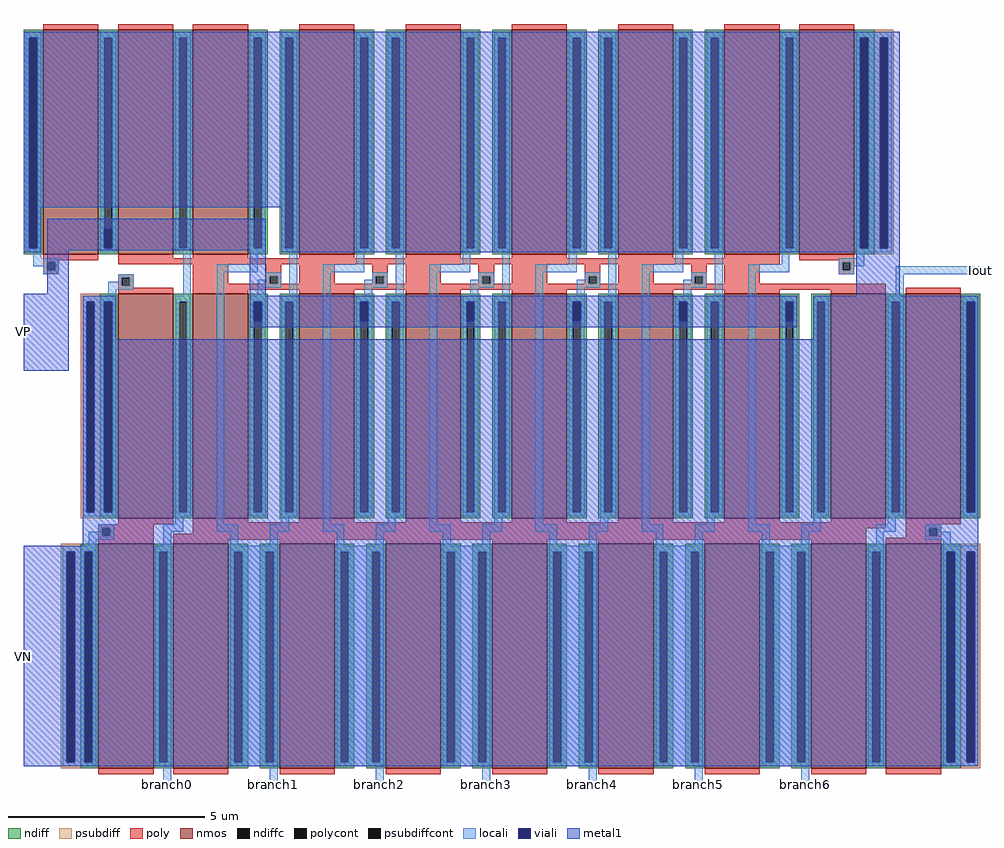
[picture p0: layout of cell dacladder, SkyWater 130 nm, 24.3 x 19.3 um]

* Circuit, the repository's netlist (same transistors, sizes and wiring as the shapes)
* SPICE3 file created from /home/jonah/VLSI/VLSI-MP4/design-files/layout/dacladder.ext - technology: sky130A


* Top level circuit /home/jonah/VLSI/VLSI-MP4/design-files/layout/dacladder

X0 branch2 VP branch1 VN sky130_fd_pr__nfet_01v8 ad=1.425e+13p pd=6.2e+07u as=1.425e+13p ps=6.2e+07u w=5.7e+06u l=1.4e+06u
X1 VP VN VN VN sky130_fd_pr__nfet_01v8 ad=1.995e+13p pd=8.68e+07u as=1.653e+13p ps=7.42e+07u w=5.7e+06u l=1.4e+06u
X2 branch1 VP branch0 VN sky130_fd_pr__nfet_01v8 ad=0p pd=0u as=8.55e+12p ps=3.72e+07u w=5.7e+06u l=1.4e+06u
X3 branch3 VP branch2 VN sky130_fd_pr__nfet_01v8 ad=1.425e+13p pd=6.2e+07u as=0p ps=0u w=5.7e+06u l=1.4e+06u
X4 branch4 VP branch3 VN sky130_fd_pr__nfet_01v8 ad=1.425e+13p pd=6.2e+07u as=0p ps=0u w=5.7e+06u l=1.4e+06u
X5 branch6 VP branch5 VN sky130_fd_pr__nfet_01v8 ad=1.14e+13p pd=4.96e+07u as=1.425e+13p ps=6.2e+07u w=5.7e+06u l=1.4e+06u
X6 VN VN branch6 VN sky130_fd_pr__nfet_01v8 ad=0p pd=0u as=0p ps=0u w=5.7e+06u l=1.4e+06u
X7 branch0 VN VN VN sky130_fd_pr__nfet_01v8 ad=0p pd=0u as=0p ps=0u w=5.7e+06u l=1.4e+06u
X8 VN VN Iout VN sky130_fd_pr__nfet_01v8 ad=0p pd=0u as=5.7e+12p ps=2.48e+07u w=5.7e+06u l=1.4e+06u
X9 branch4 VP branch3 VN sky130_fd_pr__nfet_01v8 ad=0p pd=0u as=0p ps=0u w=5.7e+06u l=1.4e+06u
X10 VP VP branch2 VN sky130_fd_pr__nfet_01v8 ad=0p pd=0u as=0p ps=0u w=5.7e+06u l=1.4e+06u
X11 branch0 VN VN VN sky130_fd_pr__nfet_01v8 ad=0p pd=0u as=0p ps=0u w=5.7e+06u l=1.4e+06u
X12 VP VP branch4 VN sky130_fd_pr__nfet_01v8 ad=0p pd=0u as=0p ps=0u w=5.7e+06u l=1.4e+06u
X13 branch5 VP branch4 VN sky130_fd_pr__nfet_01v8 ad=0p pd=0u as=0p ps=0u w=5.7e+06u l=1.4e+06u
X14 Iout VP branch6 VN sky130_fd_pr__nfet_01v8 ad=0p pd=0u as=0p ps=0u w=5.7e+06u l=1.4e+06u
X15 VN VN Iout VN sky130_fd_pr__nfet_01v8 ad=0p pd=0u as=0p ps=0u w=5.7e+06u l=1.4e+06u
X16 VP VP branch0 VN sky130_fd_pr__nfet_01v8 ad=0p pd=0u as=0p ps=0u w=5.7e+06u l=1.4e+06u
X17 branch3 VP branch2 VN sky130_fd_pr__nfet_01v8 ad=0p pd=0u as=0p ps=0u w=5.7e+06u l=1.4e+06u
X18 VP VP branch1 VN sky130_fd_pr__nfet_01v8 ad=0p pd=0u as=0p ps=0u w=5.7e+06u l=1.4e+06u
X19 branch5 VP branch4 VN sky130_fd_pr__nfet_01v8 ad=0p pd=0u as=0p ps=0u w=5.7e+06u l=1.4e+06u
X20 VP VP branch3 VN sky130_fd_pr__nfet_01v8 ad=0p pd=0u as=0p ps=0u w=5.7e+06u l=1.4e+06u
X21 Iout VP branch6 VN sky130_fd_pr__nfet_01v8 ad=0p pd=0u as=0p ps=0u w=5.7e+06u l=1.4e+06u
X22 branch2 VP branch1 VN sky130_fd_pr__nfet_01v8 ad=0p pd=0u as=0p ps=0u w=5.7e+06u l=1.4e+06u
X23 branch6 VP branch5 VN sky130_fd_pr__nfet_01v8 ad=0p pd=0u as=0p ps=0u w=5.7e+06u l=1.4e+06u
X24 VP VP branch5 VN sky130_fd_pr__nfet_01v8 ad=0p pd=0u as=0p ps=0u w=5.7e+06u l=1.4e+06u
X25 branch1 VP branch0 VN sky130_fd_pr__nfet_01v8 ad=0p pd=0u as=0p ps=0u w=5.7e+06u l=1.4e+06u
X26 branch0 VP VP VN sky130_fd_pr__nfet_01v8 ad=0p pd=0u as=0p ps=0u w=5.7e+06u l=1.4e+06u
.end

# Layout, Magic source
magic
tech sky130A
<< nmos >>
rect -25 -435 115 135
rect 165 -435 305 135
rect 355 -435 495 135
rect 625 -435 765 135
rect 895 -435 1035 135
rect 1165 -435 1305 135
rect 1435 -435 1575 135
rect 1705 -435 1845 135
rect 1895 -435 2035 135
rect 165 -1105 305 -535
rect 355 -1105 495 -535
rect 625 -1105 765 -535
rect 895 -1105 1035 -535
rect 1165 -1105 1305 -535
rect 1435 -1105 1575 -535
rect 1705 -1105 1845 -535
rect 1975 -1105 2115 -535
rect 2165 -1105 2305 -535
rect 115 -1740 255 -1170
rect 305 -1740 445 -1170
rect 575 -1740 715 -1170
rect 845 -1740 985 -1170
rect 1115 -1740 1255 -1170
rect 1385 -1740 1525 -1170
rect 1655 -1740 1795 -1170
rect 1925 -1740 2065 -1170
rect 2115 -1740 2255 -1170
<< ndiff >>
rect -75 115 -25 135
rect -75 -420 -60 115
rect -40 -420 -25 115
rect -75 -435 -25 -420
rect 115 115 165 135
rect 115 -420 130 115
rect 150 -420 165 115
rect 115 -435 165 -420
rect 305 115 355 135
rect 305 -420 320 115
rect 340 -420 355 115
rect 305 -435 355 -420
rect 495 115 545 135
rect 495 -420 510 115
rect 530 -420 545 115
rect 495 -435 545 -420
rect 575 115 625 135
rect 575 -420 590 115
rect 610 -420 625 115
rect 575 -435 625 -420
rect 765 115 815 135
rect 765 -420 780 115
rect 800 -420 815 115
rect 765 -435 815 -420
rect 845 115 895 135
rect 845 -420 860 115
rect 880 -420 895 115
rect 845 -435 895 -420
rect 1035 115 1085 135
rect 1035 -420 1050 115
rect 1070 -420 1085 115
rect 1035 -435 1085 -420
rect 1115 115 1165 135
rect 1115 -420 1130 115
rect 1150 -420 1165 115
rect 1115 -435 1165 -420
rect 1305 115 1355 135
rect 1305 -420 1320 115
rect 1340 -420 1355 115
rect 1305 -435 1355 -420
rect 1385 115 1435 135
rect 1385 -420 1400 115
rect 1420 -420 1435 115
rect 1385 -435 1435 -420
rect 1575 115 1625 135
rect 1575 -420 1590 115
rect 1610 -420 1625 115
rect 1575 -435 1625 -420
rect 1655 115 1705 135
rect 1655 -420 1670 115
rect 1690 -420 1705 115
rect 1655 -435 1705 -420
rect 1845 115 1895 135
rect 1845 -420 1860 115
rect 1880 -420 1895 115
rect 1845 -435 1895 -420
rect 2035 115 2085 135
rect 2035 -420 2050 115
rect 2070 -420 2085 115
rect 2035 -435 2085 -420
rect 120 -555 165 -535
rect 120 -1090 130 -555
rect 150 -1090 165 -555
rect 120 -1105 165 -1090
rect 305 -555 355 -535
rect 305 -1090 320 -555
rect 340 -1090 355 -555
rect 305 -1105 355 -1090
rect 495 -555 545 -535
rect 495 -1090 510 -555
rect 530 -1090 545 -555
rect 495 -1105 545 -1090
rect 575 -555 625 -535
rect 575 -1090 590 -555
rect 610 -1090 625 -555
rect 575 -1105 625 -1090
rect 765 -555 815 -535
rect 765 -1090 780 -555
rect 800 -1090 815 -555
rect 765 -1105 815 -1090
rect 845 -555 895 -535
rect 845 -1090 860 -555
rect 880 -1090 895 -555
rect 845 -1105 895 -1090
rect 1035 -555 1085 -535
rect 1035 -1090 1050 -555
rect 1070 -1090 1085 -555
rect 1035 -1105 1085 -1090
rect 1115 -555 1165 -535
rect 1115 -1090 1130 -555
rect 1150 -1090 1165 -555
rect 1115 -1105 1165 -1090
rect 1305 -555 1355 -535
rect 1305 -1090 1320 -555
rect 1340 -1090 1355 -555
rect 1305 -1105 1355 -1090
rect 1385 -555 1435 -535
rect 1385 -1090 1400 -555
rect 1420 -1090 1435 -555
rect 1385 -1105 1435 -1090
rect 1575 -555 1625 -535
rect 1575 -1090 1590 -555
rect 1610 -1090 1625 -555
rect 1575 -1105 1625 -1090
rect 1655 -555 1705 -535
rect 1655 -1090 1670 -555
rect 1690 -1090 1705 -555
rect 1655 -1105 1705 -1090
rect 1845 -555 1895 -535
rect 1845 -1090 1860 -555
rect 1880 -1090 1895 -555
rect 1845 -1105 1895 -1090
rect 1925 -555 1975 -535
rect 1925 -1090 1940 -555
rect 1960 -1090 1975 -555
rect 1925 -1105 1975 -1090
rect 2115 -555 2165 -535
rect 2115 -1090 2130 -555
rect 2150 -1090 2165 -555
rect 2115 -1105 2165 -1090
rect 2305 -555 2355 -535
rect 2305 -1090 2320 -555
rect 2340 -1090 2355 -555
rect 2305 -1105 2355 -1090
rect 70 -1190 115 -1170
rect 70 -1725 80 -1190
rect 100 -1725 115 -1190
rect 70 -1740 115 -1725
rect 255 -1190 305 -1170
rect 255 -1725 270 -1190
rect 290 -1725 305 -1190
rect 255 -1740 305 -1725
rect 445 -1190 495 -1170
rect 445 -1725 460 -1190
rect 480 -1725 495 -1190
rect 445 -1740 495 -1725
rect 525 -1190 575 -1170
rect 525 -1725 540 -1190
rect 560 -1725 575 -1190
rect 525 -1740 575 -1725
rect 715 -1190 765 -1170
rect 715 -1725 730 -1190
rect 750 -1725 765 -1190
rect 715 -1740 765 -1725
rect 795 -1190 845 -1170
rect 795 -1725 810 -1190
rect 830 -1725 845 -1190
rect 795 -1740 845 -1725
rect 985 -1190 1035 -1170
rect 985 -1725 1000 -1190
rect 1020 -1725 1035 -1190
rect 985 -1740 1035 -1725
rect 1065 -1190 1115 -1170
rect 1065 -1725 1080 -1190
rect 1100 -1725 1115 -1190
rect 1065 -1740 1115 -1725
rect 1255 -1190 1305 -1170
rect 1255 -1725 1270 -1190
rect 1290 -1725 1305 -1190
rect 1255 -1740 1305 -1725
rect 1335 -1190 1385 -1170
rect 1335 -1725 1350 -1190
rect 1370 -1725 1385 -1190
rect 1335 -1740 1385 -1725
rect 1525 -1190 1575 -1170
rect 1525 -1725 1540 -1190
rect 1560 -1725 1575 -1190
rect 1525 -1740 1575 -1725
rect 1605 -1190 1655 -1170
rect 1605 -1725 1620 -1190
rect 1640 -1725 1655 -1190
rect 1605 -1740 1655 -1725
rect 1795 -1190 1845 -1170
rect 1795 -1725 1810 -1190
rect 1830 -1725 1845 -1190
rect 1795 -1740 1845 -1725
rect 1875 -1190 1925 -1170
rect 1875 -1725 1890 -1190
rect 1910 -1725 1925 -1190
rect 1875 -1740 1925 -1725
rect 2065 -1190 2115 -1170
rect 2065 -1725 2080 -1190
rect 2100 -1725 2115 -1190
rect 2065 -1740 2115 -1725
rect 2255 -1190 2305 -1170
rect 2255 -1725 2270 -1190
rect 2290 -1725 2305 -1190
rect 2255 -1740 2305 -1725
<< ndiffc >>
rect -60 -420 -40 115
rect 130 -420 150 115
rect 320 -420 340 115
rect 510 -420 530 115
rect 590 -420 610 115
rect 780 -420 800 115
rect 860 -420 880 115
rect 1050 -420 1070 115
rect 1130 -420 1150 115
rect 1320 -420 1340 115
rect 1400 -420 1420 115
rect 1590 -420 1610 115
rect 1670 -420 1690 115
rect 1860 -420 1880 115
rect 2050 -420 2070 115
rect 130 -1090 150 -555
rect 320 -1090 340 -555
rect 510 -1090 530 -555
rect 590 -1090 610 -555
rect 780 -1090 800 -555
rect 860 -1090 880 -555
rect 1050 -1090 1070 -555
rect 1130 -1090 1150 -555
rect 1320 -1090 1340 -555
rect 1400 -1090 1420 -555
rect 1590 -1090 1610 -555
rect 1670 -1090 1690 -555
rect 1860 -1090 1880 -555
rect 1940 -1090 1960 -555
rect 2130 -1090 2150 -555
rect 2320 -1090 2340 -555
rect 80 -1725 100 -1190
rect 270 -1725 290 -1190
rect 460 -1725 480 -1190
rect 540 -1725 560 -1190
rect 730 -1725 750 -1190
rect 810 -1725 830 -1190
rect 1000 -1725 1020 -1190
rect 1080 -1725 1100 -1190
rect 1270 -1725 1290 -1190
rect 1350 -1725 1370 -1190
rect 1540 -1725 1560 -1190
rect 1620 -1725 1640 -1190
rect 1810 -1725 1830 -1190
rect 1890 -1725 1910 -1190
rect 2080 -1725 2100 -1190
rect 2270 -1725 2290 -1190
<< psubdiff >>
rect 2085 115 2135 135
rect 2085 -420 2100 115
rect 2120 -420 2135 115
rect 2085 -435 2135 -420
rect 70 -555 120 -535
rect 70 -1090 85 -555
rect 105 -1090 120 -555
rect 70 -1105 120 -1090
rect 20 -1190 70 -1170
rect 20 -1725 35 -1190
rect 55 -1725 70 -1190
rect 20 -1740 70 -1725
rect 2305 -1190 2355 -1170
rect 2305 -1725 2320 -1190
rect 2340 -1725 2355 -1190
rect 2305 -1740 2355 -1725
<< psubdiffcont >>
rect 2100 -420 2120 115
rect 85 -1090 105 -555
rect 35 -1725 55 -1190
rect 2320 -1725 2340 -1190
<< poly >>
rect -25 135 115 150
rect 165 135 305 150
rect 355 135 495 150
rect 625 135 765 150
rect 895 135 1035 150
rect 1165 135 1305 150
rect 1435 135 1575 150
rect 1705 135 1845 150
rect 1895 135 2035 150
rect -25 -450 115 -435
rect 165 -445 305 -435
rect 355 -445 495 -435
rect 625 -445 765 -435
rect 895 -445 1035 -435
rect 1165 -445 1305 -435
rect 1435 -445 1575 -435
rect 1705 -445 1845 -435
rect -25 -455 15 -450
rect -25 -475 -15 -455
rect 5 -475 15 -455
rect 165 -460 1845 -445
rect 1895 -450 2035 -435
rect 1995 -455 2035 -450
rect -25 -485 15 -475
rect 165 -495 205 -485
rect 165 -515 175 -495
rect 195 -515 205 -495
rect 165 -520 205 -515
rect 355 -510 445 -460
rect 540 -490 580 -460
rect 540 -510 550 -490
rect 570 -510 580 -490
rect 625 -510 715 -460
rect 810 -490 850 -460
rect 810 -510 820 -490
rect 840 -510 850 -490
rect 895 -510 985 -460
rect 1080 -490 1120 -460
rect 1080 -510 1090 -490
rect 1110 -510 1120 -490
rect 1165 -510 1255 -460
rect 1350 -490 1390 -460
rect 1350 -510 1360 -490
rect 1380 -510 1390 -490
rect 1435 -510 1525 -460
rect 1620 -490 1660 -460
rect 1620 -510 1630 -490
rect 1650 -510 1660 -490
rect 1705 -510 1795 -460
rect 1995 -475 2005 -455
rect 2025 -475 2035 -455
rect 1995 -485 2035 -475
rect 165 -535 305 -520
rect 355 -525 2115 -510
rect 355 -535 495 -525
rect 625 -535 765 -525
rect 895 -535 1035 -525
rect 1165 -535 1305 -525
rect 1435 -535 1575 -525
rect 1705 -535 1845 -525
rect 1975 -535 2115 -525
rect 2165 -535 2305 -520
rect 165 -1120 305 -1105
rect 355 -1115 495 -1105
rect 625 -1115 765 -1105
rect 895 -1115 1035 -1105
rect 1165 -1115 1305 -1105
rect 1435 -1115 1575 -1105
rect 1705 -1115 1845 -1105
rect 1975 -1115 2115 -1105
rect 115 -1130 255 -1120
rect 115 -1150 125 -1130
rect 145 -1150 255 -1130
rect 355 -1130 2115 -1115
rect 2165 -1120 2305 -1105
rect 2165 -1130 2255 -1120
rect 355 -1145 2065 -1130
rect 115 -1170 255 -1150
rect 305 -1160 2065 -1145
rect 2165 -1150 2225 -1130
rect 2245 -1150 2255 -1130
rect 2165 -1155 2255 -1150
rect 305 -1170 445 -1160
rect 575 -1170 715 -1160
rect 845 -1170 985 -1160
rect 1115 -1170 1255 -1160
rect 1385 -1170 1525 -1160
rect 1655 -1170 1795 -1160
rect 1925 -1170 2065 -1160
rect 2115 -1170 2255 -1155
rect 115 -1755 255 -1740
rect 305 -1755 445 -1740
rect 575 -1755 715 -1740
rect 845 -1755 985 -1740
rect 1115 -1755 1255 -1740
rect 1385 -1755 1525 -1740
rect 1655 -1755 1795 -1740
rect 1925 -1755 2065 -1740
rect 2115 -1755 2255 -1740
<< polycont >>
rect -15 -475 5 -455
rect 175 -515 195 -495
rect 550 -510 570 -490
rect 820 -510 840 -490
rect 1090 -510 1110 -490
rect 1360 -510 1380 -490
rect 1630 -510 1650 -490
rect 2005 -475 2025 -455
rect 125 -1150 145 -1130
rect 2225 -1150 2245 -1130
<< locali >>
rect -70 115 -30 130
rect -70 -420 -60 115
rect -40 -420 -30 115
rect -70 -430 -30 -420
rect 120 115 160 130
rect 120 -420 130 115
rect 150 -420 160 115
rect 120 -430 160 -420
rect 310 115 350 130
rect 310 -420 320 115
rect 340 -420 350 115
rect 310 -430 350 -420
rect -50 -445 -30 -430
rect -50 -455 15 -445
rect -50 -465 -15 -455
rect -25 -475 -15 -465
rect 5 -475 15 -455
rect -25 -485 15 -475
rect 165 -495 205 -485
rect 165 -505 175 -495
rect 140 -515 175 -505
rect 195 -515 205 -495
rect 140 -525 205 -515
rect 140 -540 160 -525
rect 330 -540 350 -430
rect 500 115 540 130
rect 500 -420 510 115
rect 530 -420 540 115
rect 500 -430 540 -420
rect 580 115 620 130
rect 580 -420 590 115
rect 610 -420 620 115
rect 580 -430 620 -420
rect 500 -460 520 -430
rect 75 -555 160 -540
rect 75 -1090 85 -555
rect 105 -1090 130 -555
rect 150 -1090 160 -555
rect 75 -1100 160 -1090
rect 310 -555 350 -540
rect 310 -1090 320 -555
rect 340 -1090 350 -555
rect 310 -1100 350 -1090
rect 415 -480 520 -460
rect 310 -1120 330 -1100
rect 115 -1130 155 -1120
rect 115 -1140 125 -1130
rect 90 -1150 125 -1140
rect 145 -1150 155 -1130
rect 90 -1160 155 -1150
rect 280 -1140 330 -1120
rect 415 -1120 435 -480
rect 540 -490 580 -480
rect 540 -500 550 -490
rect 520 -510 550 -500
rect 570 -510 580 -490
rect 520 -520 580 -510
rect 520 -540 540 -520
rect 600 -540 620 -430
rect 770 115 810 130
rect 770 -420 780 115
rect 800 -420 810 115
rect 770 -430 810 -420
rect 850 115 890 130
rect 850 -420 860 115
rect 880 -420 890 115
rect 850 -430 890 -420
rect 770 -460 790 -430
rect 500 -555 540 -540
rect 500 -1090 510 -555
rect 530 -1090 540 -555
rect 500 -1100 540 -1090
rect 580 -555 620 -540
rect 580 -1090 590 -555
rect 610 -1090 620 -555
rect 580 -1100 620 -1090
rect 685 -480 790 -460
rect 580 -1120 600 -1100
rect 415 -1140 470 -1120
rect 90 -1175 110 -1160
rect 280 -1175 300 -1140
rect 25 -1190 110 -1175
rect 25 -1725 35 -1190
rect 55 -1725 80 -1190
rect 100 -1725 110 -1190
rect 25 -1735 110 -1725
rect 260 -1190 300 -1175
rect 260 -1725 270 -1190
rect 290 -1725 300 -1190
rect 260 -1735 300 -1725
rect 450 -1175 470 -1140
rect 550 -1140 600 -1120
rect 685 -1120 705 -480
rect 810 -490 850 -480
rect 810 -500 820 -490
rect 790 -510 820 -500
rect 840 -510 850 -490
rect 790 -520 850 -510
rect 790 -540 810 -520
rect 870 -540 890 -430
rect 1040 115 1080 130
rect 1040 -420 1050 115
rect 1070 -420 1080 115
rect 1040 -430 1080 -420
rect 1120 115 1160 130
rect 1120 -420 1130 115
rect 1150 -420 1160 115
rect 1120 -430 1160 -420
rect 1040 -460 1060 -430
rect 770 -555 810 -540
rect 770 -1090 780 -555
rect 800 -1090 810 -555
rect 770 -1100 810 -1090
rect 850 -555 890 -540
rect 850 -1090 860 -555
rect 880 -1090 890 -555
rect 850 -1100 890 -1090
rect 955 -480 1060 -460
rect 850 -1120 870 -1100
rect 685 -1140 740 -1120
rect 550 -1175 570 -1140
rect 450 -1190 570 -1175
rect 450 -1725 460 -1190
rect 480 -1725 540 -1190
rect 560 -1725 570 -1190
rect 450 -1735 570 -1725
rect 720 -1175 740 -1140
rect 820 -1140 870 -1120
rect 955 -1120 975 -480
rect 1080 -490 1120 -480
rect 1080 -500 1090 -490
rect 1060 -510 1090 -500
rect 1110 -510 1120 -490
rect 1060 -520 1120 -510
rect 1060 -540 1080 -520
rect 1140 -540 1160 -430
rect 1310 115 1350 130
rect 1310 -420 1320 115
rect 1340 -420 1350 115
rect 1310 -430 1350 -420
rect 1390 115 1430 130
rect 1390 -420 1400 115
rect 1420 -420 1430 115
rect 1390 -430 1430 -420
rect 1310 -460 1330 -430
rect 1040 -555 1080 -540
rect 1040 -1090 1050 -555
rect 1070 -1090 1080 -555
rect 1040 -1100 1080 -1090
rect 1120 -555 1160 -540
rect 1120 -1090 1130 -555
rect 1150 -1090 1160 -555
rect 1120 -1100 1160 -1090
rect 1225 -480 1330 -460
rect 1120 -1120 1140 -1100
rect 955 -1140 1010 -1120
rect 820 -1175 840 -1140
rect 720 -1190 840 -1175
rect 720 -1725 730 -1190
rect 750 -1725 810 -1190
rect 830 -1725 840 -1190
rect 720 -1735 840 -1725
rect 990 -1175 1010 -1140
rect 1090 -1140 1140 -1120
rect 1225 -1120 1245 -480
rect 1350 -490 1390 -480
rect 1350 -500 1360 -490
rect 1330 -510 1360 -500
rect 1380 -510 1390 -490
rect 1330 -520 1390 -510
rect 1330 -540 1350 -520
rect 1410 -540 1430 -430
rect 1580 115 1620 130
rect 1580 -420 1590 115
rect 1610 -420 1620 115
rect 1580 -430 1620 -420
rect 1660 115 1700 130
rect 1660 -420 1670 115
rect 1690 -420 1700 115
rect 1660 -430 1700 -420
rect 1580 -460 1600 -430
rect 1310 -555 1350 -540
rect 1310 -1090 1320 -555
rect 1340 -1090 1350 -555
rect 1310 -1100 1350 -1090
rect 1390 -555 1430 -540
rect 1390 -1090 1400 -555
rect 1420 -1090 1430 -555
rect 1390 -1100 1430 -1090
rect 1495 -480 1600 -460
rect 1390 -1120 1410 -1100
rect 1225 -1140 1280 -1120
rect 1090 -1175 1110 -1140
rect 990 -1190 1110 -1175
rect 990 -1725 1000 -1190
rect 1020 -1725 1080 -1190
rect 1100 -1725 1110 -1190
rect 990 -1735 1110 -1725
rect 1260 -1175 1280 -1140
rect 1360 -1140 1410 -1120
rect 1495 -1120 1515 -480
rect 1620 -490 1660 -480
rect 1620 -500 1630 -490
rect 1600 -510 1630 -500
rect 1650 -510 1660 -490
rect 1600 -520 1660 -510
rect 1600 -540 1620 -520
rect 1680 -540 1700 -430
rect 1850 115 1890 130
rect 1850 -420 1860 115
rect 1880 -420 1890 115
rect 1850 -430 1890 -420
rect 2040 115 2130 130
rect 2040 -420 2050 115
rect 2070 -420 2100 115
rect 2120 -420 2130 115
rect 2040 -430 2130 -420
rect 1850 -460 1870 -430
rect 2040 -445 2060 -430
rect 1580 -555 1620 -540
rect 1580 -1090 1590 -555
rect 1610 -1090 1620 -555
rect 1580 -1100 1620 -1090
rect 1660 -555 1700 -540
rect 1660 -1090 1670 -555
rect 1690 -1090 1700 -555
rect 1660 -1100 1700 -1090
rect 1765 -480 1870 -460
rect 1995 -455 2060 -445
rect 1995 -475 2005 -455
rect 2025 -465 2060 -455
rect 2025 -475 2035 -465
rect 1660 -1120 1680 -1100
rect 1495 -1140 1550 -1120
rect 1360 -1175 1380 -1140
rect 1260 -1190 1380 -1175
rect 1260 -1725 1270 -1190
rect 1290 -1725 1350 -1190
rect 1370 -1725 1380 -1190
rect 1260 -1735 1380 -1725
rect 1530 -1175 1550 -1140
rect 1630 -1140 1680 -1120
rect 1765 -1120 1785 -480
rect 1995 -485 2035 -475
rect 2140 -485 2355 -465
rect 2140 -540 2160 -485
rect 1850 -555 1890 -540
rect 1850 -1090 1860 -555
rect 1880 -1090 1890 -555
rect 1850 -1100 1890 -1090
rect 1930 -555 1970 -540
rect 1930 -1090 1940 -555
rect 1960 -1090 1970 -555
rect 1930 -1100 1970 -1090
rect 2120 -555 2160 -540
rect 2120 -1090 2130 -555
rect 2150 -1090 2160 -555
rect 2120 -1100 2160 -1090
rect 2310 -555 2350 -540
rect 2310 -1090 2320 -555
rect 2340 -1090 2350 -555
rect 2310 -1100 2350 -1090
rect 1930 -1120 1950 -1100
rect 2120 -1120 2140 -1100
rect 1765 -1140 1820 -1120
rect 1630 -1175 1650 -1140
rect 1530 -1190 1650 -1175
rect 1530 -1725 1540 -1190
rect 1560 -1725 1620 -1190
rect 1640 -1725 1650 -1190
rect 1530 -1735 1650 -1725
rect 1800 -1175 1820 -1140
rect 1900 -1140 1950 -1120
rect 2090 -1140 2140 -1120
rect 2215 -1130 2255 -1120
rect 1900 -1175 1920 -1140
rect 2090 -1175 2110 -1140
rect 2215 -1150 2225 -1130
rect 2245 -1140 2255 -1130
rect 2245 -1150 2280 -1140
rect 2215 -1160 2280 -1150
rect 1800 -1190 1920 -1175
rect 1800 -1725 1810 -1190
rect 1830 -1725 1890 -1190
rect 1910 -1725 1920 -1190
rect 1800 -1735 1920 -1725
rect 2070 -1190 2110 -1175
rect 2070 -1725 2080 -1190
rect 2100 -1725 2110 -1190
rect 2070 -1735 2110 -1725
rect 2260 -1175 2280 -1160
rect 2260 -1190 2350 -1175
rect 2260 -1725 2270 -1190
rect 2290 -1725 2320 -1190
rect 2340 -1725 2350 -1190
rect 2260 -1735 2350 -1725
rect 280 -1780 300 -1735
rect 550 -1780 570 -1735
rect 820 -1780 840 -1735
rect 1090 -1780 1110 -1735
rect 1360 -1780 1380 -1735
rect 1630 -1780 1650 -1735
rect 1900 -1780 1920 -1735
<< viali >>
rect -60 -420 -40 115
rect 130 -420 150 -370
rect 85 -1090 105 -555
rect 130 -1090 150 -555
rect 510 -605 530 -555
rect 35 -1725 55 -1190
rect 80 -1725 100 -1190
rect 780 -605 800 -555
rect 1050 -605 1070 -555
rect 1320 -605 1340 -555
rect 2050 -420 2070 115
rect 2100 -420 2120 115
rect 1590 -605 1610 -555
rect 1860 -605 1880 -555
rect 2320 -1090 2340 -555
rect 2270 -1725 2290 -1190
rect 2320 -1725 2340 -1190
<< metal1 >>
rect -75 115 2150 130
rect -75 -420 -60 115
rect -40 -315 2050 115
rect -40 -420 -30 -315
rect -75 -430 -30 -420
rect -15 -370 540 -345
rect -15 -420 130 -370
rect 150 -420 540 -370
rect -15 -425 540 -420
rect -15 -535 40 -425
rect -75 -730 40 -535
rect 500 -540 540 -425
rect 580 -420 2050 -315
rect 2070 -420 2100 115
rect 2120 -420 2150 115
rect 580 -430 2150 -420
rect 2040 -540 2150 -430
rect 75 -555 160 -540
rect 75 -1090 85 -555
rect 105 -1090 130 -555
rect 150 -650 160 -555
rect 500 -555 1890 -540
rect 500 -605 510 -555
rect 530 -605 780 -555
rect 800 -605 1050 -555
rect 1070 -605 1320 -555
rect 1340 -605 1590 -555
rect 1610 -605 1860 -555
rect 1880 -605 1890 -555
rect 500 -620 1890 -605
rect 1930 -555 2350 -540
rect 1930 -650 2320 -555
rect 150 -1090 2320 -650
rect 2340 -1090 2350 -555
rect 75 -1175 2350 -1090
rect -75 -1190 2350 -1175
rect -75 -1725 35 -1190
rect 55 -1725 80 -1190
rect 100 -1725 2270 -1190
rect 2290 -1725 2320 -1190
rect 2340 -1725 2350 -1190
rect -75 -1735 2350 -1725
<< labels >>
rlabel metal1 -75 -630 -75 -630 7 VP
rlabel metal1 -75 -1455 -75 -1455 7 VN
rlabel locali 2355 -475 2355 -475 3 Iout
rlabel locali 290 -1780 290 -1780 5 branch0
rlabel locali 560 -1780 560 -1780 5 branch1
rlabel locali 830 -1780 830 -1780 5 branch2
rlabel locali 1100 -1780 1100 -1780 5 branch3
rlabel locali 1370 -1780 1370 -1780 5 branch4
rlabel locali 1640 -1780 1640 -1780 5 branch5
rlabel locali 1910 -1780 1910 -1780 5 branch6
<< end >>
